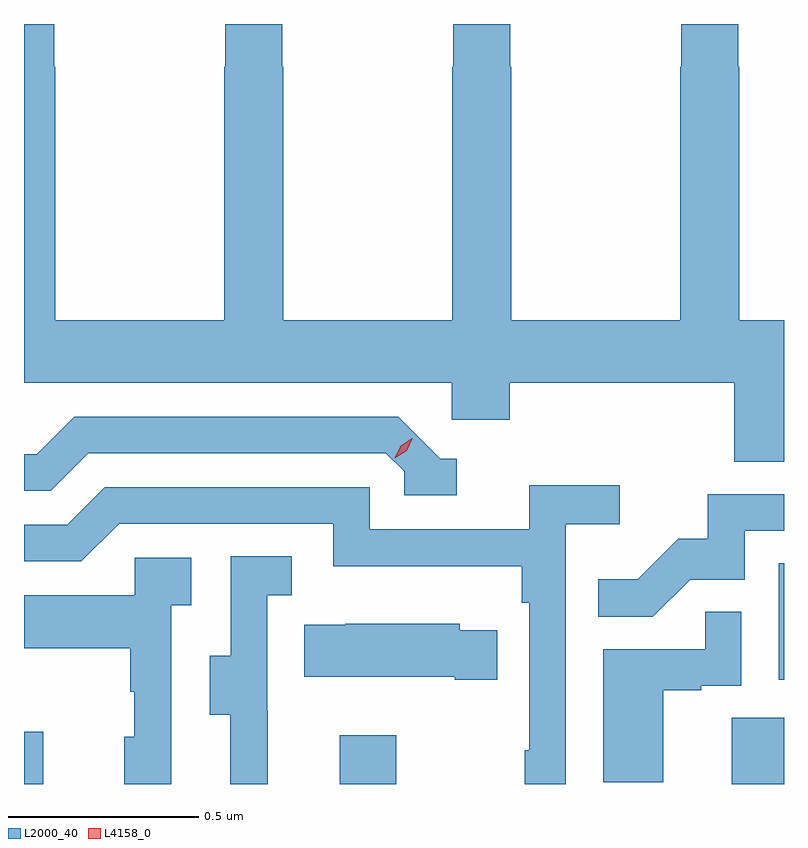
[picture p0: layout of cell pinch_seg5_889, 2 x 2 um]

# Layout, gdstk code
import gdstk
lib = gdstk.Library(unit=1e-6, precision=1e-09)
def R(c, l, rs):  # rectangles x0, y0, x1, y1
    for r in rs: c.add(gdstk.rectangle(r[:2], r[2:], *l))
def P(c, l, *ps):  # polygons
    for p in ps: c.add(gdstk.Polygon(p, *l))
L2000_40 = (2000, 40)
L4158_0 = (4158, 0)

pinch_seg5_889 = lib.new_cell('pinch_seg5_889')
R(pinch_seg5_889, L2000_40, [(853.796,886.34,853.847,886.477), (854.627,886.34,854.775,886.468), (855.659,886.34,855.796,886.514), (855.782,886.614,855.796,886.921)])
P(pinch_seg5_889, L2000_40, [(855.796,887.56),(855.678,887.56),(855.678,888.227),(855.675,888.227),(855.675,888.34),(855.525,888.34),(855.525,888.227),(855.523,888.227),(855.523,887.56),(855.078,887.56),(855.078,888.227),(855.075,888.227),(855.075,888.34),(854.925,888.34),(854.925,888.227),(854.923,888.227),(854.923,887.56),(854.478,887.56),(854.478,888.227),(854.475,888.227),(854.475,888.34),(854.325,888.34),(854.325,888.227),(854.323,888.227),(854.323,887.56),(853.878,887.56),(853.878,888.227),(853.875,888.227),(853.875,888.34),(853.796,888.34),(853.796,887.396),(854.922,887.396),(854.922,887.298),(855.074,887.298),(855.074,887.396),(855.665,887.396),(855.665,887.188),(855.796,887.188)],
  [(854.935,887.196),(854.892,887.196),(854.781,887.307),(853.928,887.307),(853.829,887.208),(853.796,887.208),(853.796,887.112),(853.866,887.112),(853.965,887.211),(854.748,887.211),(854.796,887.163),(854.796,887.1),(854.935,887.1)],
  [(855.222,887.024),(855.364,887.024),(855.364,887.126),(855.125,887.126),(855.125,887.01),(854.706,887.01),(854.706,887.121),(854.009,887.121),(853.91,887.022),(853.796,887.022),(853.796,886.926),(853.947,886.926),(854.046,887.025),(854.61,887.025),(854.61,886.913),(855.106,886.913),(855.106,886.817),(855.126,886.817),(855.126,886.429),(855.114,886.429),(855.114,886.34),(855.222,886.34)],
  [(855.549,886.878),(855.693,886.878),(855.693,887.007),(855.796,887.007),(855.796,887.103),(855.595,887.103),(855.595,886.986),(855.518,886.986),(855.411,886.879),(855.307,886.879),(855.307,886.78),(855.451,886.78)],
  [(854.438,886.533),(854.436,886.533),(854.436,886.837),(854.5,886.837),(854.5,886.94),(854.34,886.94),(854.34,886.677),(854.285,886.677),(854.285,886.522),(854.339,886.522),(854.339,886.34),(854.438,886.34)],
  [(854.184,886.811),(854.236,886.811),(854.236,886.935),(854.088,886.935),(854.088,886.837),(853.796,886.837),(853.796,886.697),(854.076,886.697),(854.076,886.583),(854.086,886.583),(854.086,886.464),(854.06,886.464),(854.06,886.34),(854.184,886.34)],
  [(855.478,886.587),(855.578,886.587),(855.578,886.599),(855.684,886.599),(855.684,886.793),(855.589,886.793),(855.589,886.695),(855.32,886.695),(855.32,886.344),(855.478,886.344)],
  [(855.041,886.744),(854.943,886.744),(854.943,886.762),(854.641,886.762),(854.641,886.759),(854.533,886.759),(854.533,886.622),(854.93,886.622),(854.93,886.615),(855.041,886.615)])
P(pinch_seg5_889, L4158_0, [(854.772,887.197),(854.772,887.197),(854.788,887.23),(854.818,887.25),(854.818,887.25),(854.818,887.249),(854.803,887.217),(854.772,887.197)])

lib.write_gds('pinch_seg5_889.gds')
